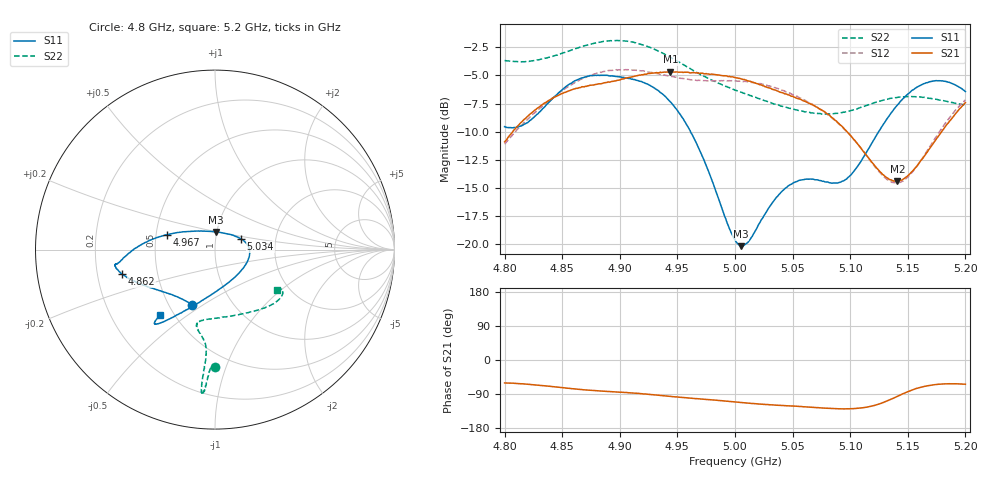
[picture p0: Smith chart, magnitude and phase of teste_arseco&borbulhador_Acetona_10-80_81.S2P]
! Network Analyzer HP8722D
! Hewlett-Packard
! Data name: Linha & Wilkinson
! Saver's name: Rodrigo Anjos
! Comments: Teste da utilização de aquisição
! continua pelo VNA HP8722D
! Time and date: 17/4/2025 15:02
!  Frequency  S11  S21  S12  S22
# HZ  S  MA R 50
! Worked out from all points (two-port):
!   401 points, 4.8 GHz to 5.2 GHz, reference 50 ohm
!   highest |S21| = -4.67 dB at 4.944 GHz (marker M1); lowest = -14.4 dB at 5.141 GHz (marker M2)
!   |S21| within 3 dB of the highest: 4.832 GHz to 5.068 GHz (236.8 MHz wide, 4.78 % of centre); 5.197703 GHz to end of sweep
!   lowest |S11| = -20.2 dB at 5.005 GHz (marker M3), VSWR 1.22, Z = 49.6 + j9.79 ohm
!   |S11| at or under -10 dB: 4.961 GHz to 5.125 GHz (163.2 MHz wide, 3.24 % of centre)
!   |S22| runs from -8.4 to -1.9 dB; largest |S21 - S12| = 0.88
!   S11 on the Smith chart (normalised r, x): 4.8 GHz: 0.65, -0.45; 4.862 GHz: 0.31, -0.12; 4.967 GHz: 0.57, +0.10; 5.034 GHz: 1.33, +0.16; 5.2 GHz: 0.42, -0.40
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4.8e9  0.333 -112.9  0.285 -60.6  0.2784 -174.8  0.6555 -89.8
4.82e9  0.347 -133.7  0.3703 -64.0  0.3595 -173.2  0.6504 -91.5
4.862e9  0.5348 -165.2  0.4934 -76.5  0.5264 -176.4  0.7415 -93.6
4.867e9  0.5484 -167.2  0.5013 -77.9  0.5424 -177.4  0.7549 -93.7
4.899e9  0.5547 -171.7  0.5358 -84.8  0.5962 175.8  0.8042 -95.1
4.934e9  0.4793 -177.7  0.578 -93.3  0.571 172.1  0.7178 -95.5
4.944e9  0.4289 177.7  0.5842 -96.0  0.5569 172.1  0.677 -95.4
4.967e9  0.2778 162.4  0.5782 -101.9  0.5339 174.2  0.5791 -94.9
5e9  0.1044 103.9  0.5505 -110.8  0.5321 176.5  0.484 -99.1
5.005e9  0.09794 86.7  0.5439 -112.3  0.5316 176.4  0.474 -100.2
5.013e9  0.1046 60.9  0.53 -114.3  0.5239 176.2  0.4577 -101.9
5.034e9  0.1567 22.7  0.4855 -118.9  0.4968 175.1  0.4195 -103.5
5.049e9  0.1847 7.1  0.4544 -121.2  0.4651 174.4  0.4004 -100.1
5.067e9  0.1945 -12.1  0.4178 -124.7  0.4196 173.9  0.3833 -91.1
5.086e9  0.1871 -42.1  0.3592 -128.3  0.3577 173.7  0.3805 -76.8
5.097e9  0.195 -64.9  0.3173 -128.9  0.3164 174.4  0.3882 -67.7
5.134e9  0.3732 -115.7  0.1939 -105.7  0.191 -158.6  0.444 -42.9
5.141e9  0.4159 -119.6  0.1902 -95.7  0.1875 -147.4  0.4494 -39.8
5.152e9  0.4736 -124.2  0.2058 -81.1  0.2032 -130.5  0.4528 -35.9
5.17e9  0.5287 -128.3  0.2708 -66.6  0.2756 -112.6  0.4446 -31.8
5.184e9  0.527 -129.6  0.3414 -62.9  0.3527 -107.1  0.4313 -30.8
5.2e9  0.477 -130.1  0.4257 -64.0  0.4382 -106.1  0.4148 -33.1
